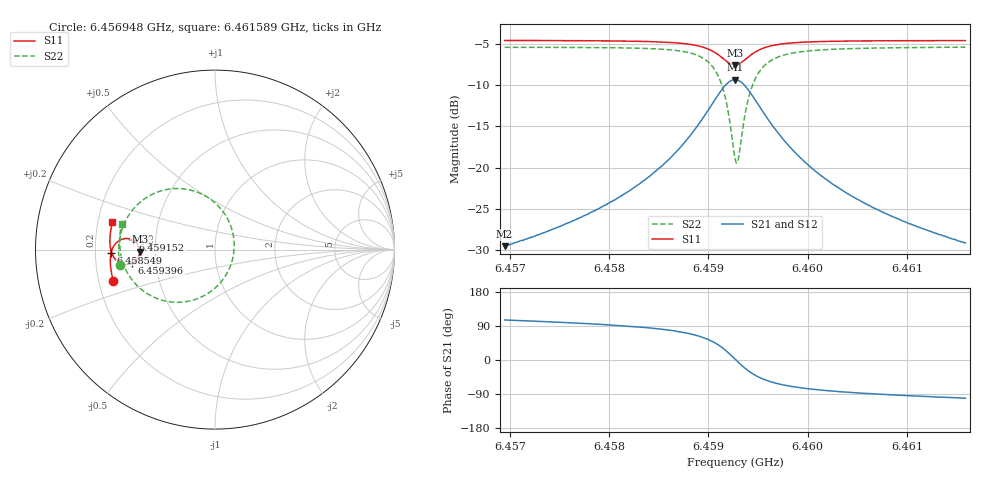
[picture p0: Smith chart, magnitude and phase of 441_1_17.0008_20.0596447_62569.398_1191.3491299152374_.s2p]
#  HZ  S  RI  R  50.00
! Rohde & Schwarz Vector Network Analyzer
! Rohde-Schwarz,ZNB20-2Port,1311601062101988,3.16
! Created: UTC 3/20/2024, 11:11:51 PM
! freq[Hz]  re:S11  im:S11  re:S21  im:S21  re:S12  im:S12  re:S22  im:S22
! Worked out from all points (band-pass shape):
!   401 points, 6.456948 GHz to 6.461589 GHz, reference 50 ohm
!   highest |S21| = -9.31 dB at 6.459268 GHz (marker M1); lowest = -29.6 dB at 6.456948 GHz (marker M2)
!   |S21| within 3 dB of the highest: 6.459037 GHz to 6.459501 GHz (463.8 kHz wide, 0.00718 % of centre)
!   lowest |S11| = -7.5 dB at 6.459268 GHz (marker M3), VSWR 2.45, Z = 20.4 - j0.527 ohm
!   |S11| at or under -10 dB: nowhere
!   |S22| runs from -19.4 to -5.4 dB; largest |S21 - S12| = 0.013
!   S11 on the Smith chart (normalised r, x): 6.456948 GHz: 0.26, -0.14; 6.458549 GHz: 0.27, -0.01; 6.459152 GHz: 0.37, +0.05; 6.459396 GHz: 0.37, -0.07; 6.461589 GHz: 0.26, +0.12
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6.4569477e9  -0.566 -0.1744  -0.009 0.032  -0.00726 0.0321  -0.5311 -0.0873
6.4577251e9  -0.5804 -0.1066  -0.00583 0.0498  -0.00321 0.0493  -0.5369 0.00295
6.4581893e9  -0.5835 -0.06  0.000861 0.0713  0.00425 0.0699  -0.5279 0.0768
6.4585026e9  -0.5799 -0.0225  0.0138 0.0979  0.0177 0.095  -0.5044 0.1478
6.458549e9  -0.5785 -0.0162  0.0171 0.1031  0.0212 0.1002  -0.4981 0.161
6.4587578e9  -0.5664 0.0157  0.043 0.1346  0.0471 0.1299  -0.4497 0.2322
6.4589087e9  -0.5453 0.0419  0.0852 0.1647  0.0885 0.1582  -0.3717 0.296
6.4590595e9  -0.4995 0.0616  0.1762 0.1838  0.1772 0.1765  -0.2054 0.3402
6.4591524e9  -0.4554 0.0517  0.2654 0.1532  0.2655 0.1472  -0.0403 0.2911
6.4591988e9  -0.4343 0.033  0.3087 0.1108  0.31 0.1056  0.042 0.2157
6.4592684e9  -0.4197 -0.0106  0.3421 0.015  0.3456 0.00801  0.107 0.0377
6.45928e9  -0.42 -0.0185  0.3418 -0.00276  0.3457 -0.0103  0.1067 0.00449
6.4593032e9  -0.4235 -0.0339  0.3365 -0.037  0.3402 -0.0462  0.096 -0.0608
6.4593496e9  -0.4389 -0.0598  0.3084 -0.0966  0.3104 -0.1085  0.0394 -0.173
6.459396e9  -0.4606 -0.0759  0.2668 -0.1374  0.2659 -0.1505  -0.0448 -0.2476
6.4594889e9  -0.5037 -0.0826  0.1827 -0.1684  0.1767 -0.18  -0.212 -0.2938
6.4596397e9  -0.5472 -0.0622  0.0957 -0.155  0.0871 -0.1612  -0.3782 -0.245
6.4598022e9  -0.5685 -0.0346  0.051 -0.1273  0.0435 -0.1302  -0.4582 -0.1737
6.4600458e9  -0.5811 0.00101  0.0222 -0.0962  0.0164 -0.0968  -0.5058 -0.0917
6.4603707e9  -0.5855 0.0397  0.00683 -0.071  0.00279 -0.0706  -0.5267 -0.0172
6.4608233e9  -0.5835 0.0851  -0.00143 -0.0514  -0.00426 -0.0505  -0.5315 0.0553
6.4615891e9  -0.5711 0.1528  -0.00658 -0.0343  -0.00823 -0.0333  -0.5199 0.1449
